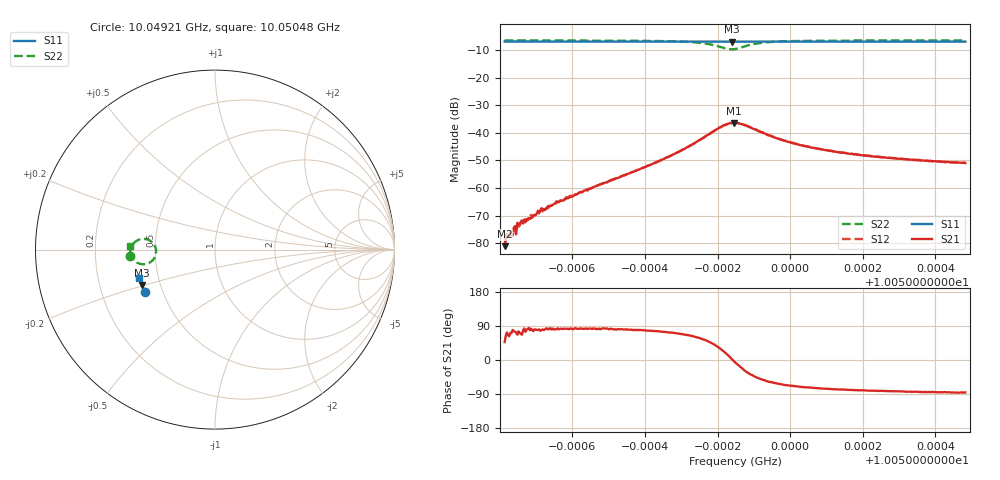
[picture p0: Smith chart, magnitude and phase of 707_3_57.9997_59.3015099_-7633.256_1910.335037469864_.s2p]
#  HZ  S  RI  R  50.00
! Rohde & Schwarz Vector Network Analyzer
! Rohde-Schwarz,ZNB20-2Port,1311601062101988,3.16
! Created: UTC 3/21/2024, 1:22:02 AM
! freq[Hz]  re:S11  im:S11  re:S21  im:S21  re:S12  im:S12  re:S22  im:S22
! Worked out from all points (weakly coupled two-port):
!   401 points, 10.04921 GHz to 10.05048 GHz, reference 50 ohm
!   highest |S21| = -36.37 dB at 10.04984 GHz (marker M1); lowest = -81.1 dB at 10.04921 GHz (marker M2)
!   lowest |S11| = -6.9 dB at 10.04984 GHz (marker M3), VSWR 2.65, Z = 19.8 - j9.85 ohm
!   |S11| at or under -10 dB: nowhere
!   |S22| runs from -9.7 to -6.5 dB; largest |S21 - S12| = 0.0013
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1.0049213e10  -0.3886 -0.2356  5.97e-05 6.45e-05  4.94e-05 9.44e-05  -0.4738 -0.0351
1.0049226e10  -0.389 -0.235  6.33e-05 0.000122  5.15e-05 0.00013  -0.4738 -0.0341
1.0049236e10  -0.3894 -0.2342  3e-05 0.000161  5.36e-05 0.000126  -0.4737 -0.0332
1.0049239e10  -0.3894 -0.2342  4.43e-05 0.000184  5.27e-05 0.000176  -0.4736 -0.0329
1.0049255e10  -0.3899 -0.2332  7.26e-05 0.000206  3.91e-05 0.000203  -0.4736 -0.0313
1.0049283e10  -0.3909 -0.2314  5.55e-05 0.000268  2.71e-05 0.000298  -0.4737 -0.0287
1.0049312e10  -0.3917 -0.2298  8.52e-05 0.000377  1.32e-05 0.000385  -0.4736 -0.0262
1.0049343e10  -0.3928 -0.2281  8.18e-05 0.000468  3.3e-05 0.000506  -0.4736 -0.023
1.0049426e10  -0.3953 -0.2232  0.000107 0.000821  6.63e-05 0.000857  -0.4728 -0.0142
1.0049639e10  -0.4018 -0.2104  0.000778 0.00296  0.000605 0.00304  -0.4632 0.0196
1.0049715e10  -0.4039 -0.2056  0.00221 0.00497  0.00188 0.00506  -0.4467 0.0413
1.0049784e10  -0.4051 -0.2013  0.00738 0.00716  0.00687 0.0076  -0.3937 0.0596
1.0049813e10  -0.4055 -0.1996  0.0121 0.00572  0.0114 0.00647  -0.3515 0.0417
1.0049838e10  -0.4056 -0.1985  0.015 0.000858  0.0149 0.00189  -0.3283 -0.00703
1.0049845e10  -0.4059 -0.1983  0.0152 -0.000745  0.0152 0.000365  -0.329 -0.022
1.0049848e10  -0.4059 -0.1981  0.0151 -0.00158  0.0152 -0.000396  -0.3305 -0.0291
1.0049883e10  -0.4071 -0.1968  0.011 -0.00734  0.0117 -0.00636  -0.377 -0.0781
1.0049927e10  -0.4088 -0.1943  0.00598 -0.0078  0.00642 -0.00746  -0.4285 -0.0753
1.0049984e10  -0.4107 -0.1908  0.00294 -0.00656  0.00344 -0.00642  -0.4554 -0.0545
1.005006e10  -0.4128 -0.1861  0.00155 -0.00517  0.00184 -0.0051  -0.4672 -0.0339
1.0050273e10  -0.4183 -0.1731  0.000479 -0.00349  0.000705 -0.00347  -0.4744 -0.00172
1.0050482e10  -0.4229 -0.1602  0.000212 -0.00283  0.000363 -0.00283  -0.4749 0.0185
